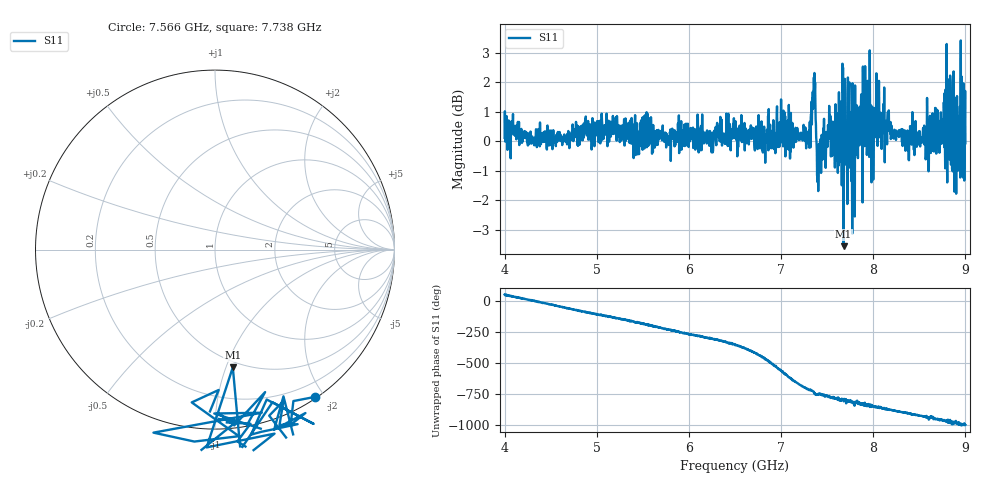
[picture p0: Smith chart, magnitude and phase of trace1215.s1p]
! Created with skrf 1.8.0 (http://scikit-rf.org).
# Hz S RI R 50.0
!freq ReS11 ImS11
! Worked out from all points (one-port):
!   1601 points, 4 GHz to 9 GHz, reference 50 ohm
!   lowest |S11| = -3.6 dB at 7.678 GHz (marker M1), VSWR 4.94, Z = 22.5 - j52.8 ohm
!   |S11| at or under -10 dB: nowhere
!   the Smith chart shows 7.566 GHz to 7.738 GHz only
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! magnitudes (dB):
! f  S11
! 4 GHz  0.1
! 4.625 GHz  -0.1
! 5.25 GHz  0.0
! 5.875 GHz  0.3
! 6.5 GHz  0.4
! 6.816 GHz  0.5
! 7.019 GHz  0.4
! 7.125 GHz  0.2
! 7.294 GHz  -0.1
! 7.347 GHz  1.1
! 7.362 GHz  2.3
! 7.412 GHz  -0.1
! 7.512 GHz  0.4
! 7.638 GHz  -0.1
! 7.65 GHz  1.3
! 7.678 GHz  -3.6
! 7.75 GHz  -0.9
! 7.775 GHz  2.0
! 7.909 GHz  1.2
! 7.928 GHz  0.9
! 7.997 GHz  0.5
! 8.05 GHz  0.7
! 8.375 GHz  0.0
! 8.766 GHz  1.3
! 8.816 GHz  -0.5
! 8.875 GHz  0.9
! 8.959 GHz  2.2
! 9 GHz  -0.1
